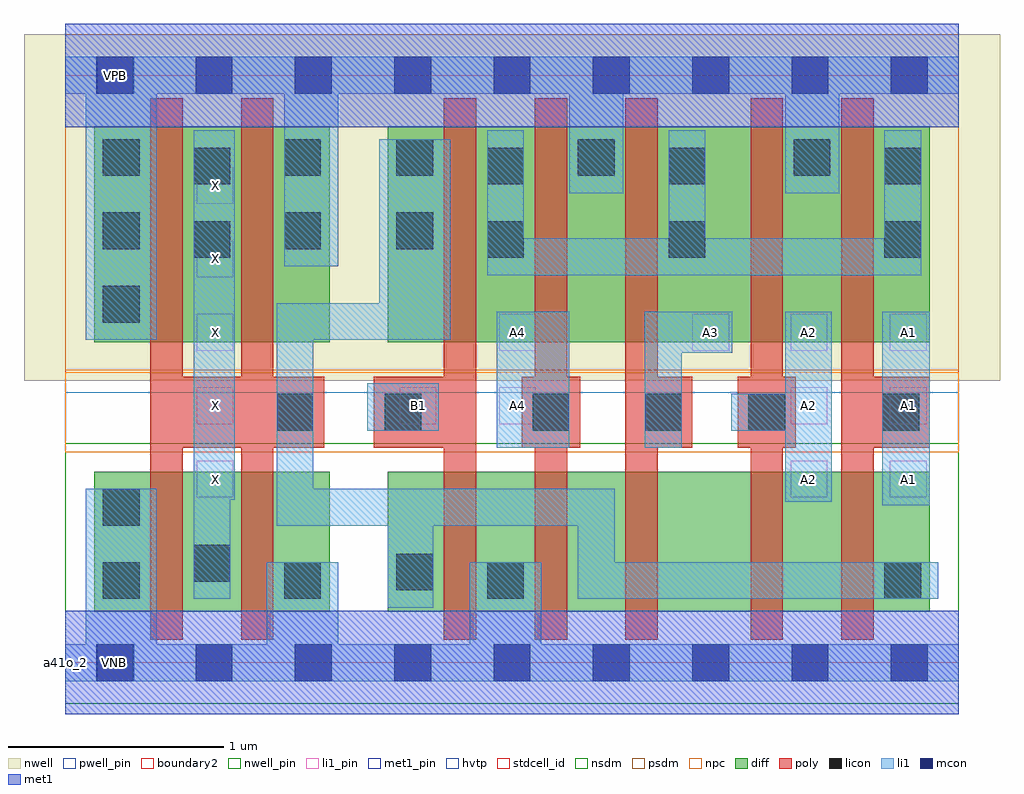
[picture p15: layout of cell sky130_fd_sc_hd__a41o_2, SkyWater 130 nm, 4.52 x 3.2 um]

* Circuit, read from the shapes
.subckt sky130_fd_sc_hd__a41o_2 A1 A2 A3 A4 B1 VGND VNB VPB VPWR X
XM1 X n1 VGND VNB sky130_fd_pr__nfet_01v8 w=0.65 l=0.15 m=2
XM2 VGND B1 n1 VNB sky130_fd_pr__nfet_01v8 w=0.65 l=0.15
XM3 n2 A4 VGND VNB sky130_fd_pr__nfet_01v8 w=0.65 l=0.15
XM4 n3 A3 n2 VNB sky130_fd_pr__nfet_01v8 w=0.65 l=0.15
XM5 n4 A2 n3 VNB sky130_fd_pr__nfet_01v8 w=0.65 l=0.15
XM6 n1 A1 n4 VNB sky130_fd_pr__nfet_01v8 w=0.65 l=0.15
XM7 X n1 VPWR VPB sky130_fd_pr__pfet_01v8_hvt w=1 l=0.15 m=2
XM8 n5 B1 n1 VPB sky130_fd_pr__pfet_01v8_hvt w=1 l=0.15
XM9 VPWR A4 n5 VPB sky130_fd_pr__pfet_01v8_hvt w=1 l=0.15
XM10 n5 A3 VPWR VPB sky130_fd_pr__pfet_01v8_hvt w=1 l=0.15
XM11 VPWR A2 n5 VPB sky130_fd_pr__pfet_01v8_hvt w=1 l=0.15
XM12 n5 A1 VPWR VPB sky130_fd_pr__pfet_01v8_hvt w=1 l=0.15
.ends

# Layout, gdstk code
import gdstk
lib = gdstk.Library(unit=1e-6, precision=1e-09)
def R(c, l, rs):  # rectangles x0, y0, x1, y1
    for r in rs: c.add(gdstk.rectangle(r[:2], r[2:], *l))
def A(c, l, x, y, w, h, nx, ny, dx, dy):  # array of equal rectangles
    R(c, l, [(x+i*dx, y+j*dy, x+i*dx+w, y+j*dy+h) for i in range(nx) for j in range(ny)])
def P(c, l, *ps):  # polygons
    for p in ps: c.add(gdstk.Polygon(p, *l))
nwell_pin = (64, 16)
nwell = (64, 20)
diff = (65, 20)
poly = (66, 20)
licon = (66, 44)
li1_pin = (67, 16)
li1 = (67, 20)
mcon = (67, 44)
met1_pin = (68, 16)
met1 = (68, 20)
hvtp = (78, 44)
stdcell_id = (81, 4)
nsdm = (93, 44)
psdm = (94, 20)
npc = (95, 20)
pwell_pin = (122, 16)
boundary2 = (236, 0)

sky130_fd_sc_hd__a41o_2 = lib.new_cell('sky130_fd_sc_hd__a41o_2')
R(sky130_fd_sc_hd__a41o_2, nwell_pin, [(0.15,2.635,0.32,2.805)])
R(sky130_fd_sc_hd__a41o_2, nwell, [(-0.19,1.305,4.33,2.91)])
R(sky130_fd_sc_hd__a41o_2, diff, [(0.135,0.235,1.225,0.885), (1.495,0.235,4.005,0.885), (0.135,1.485,1.225,2.485), (1.495,1.485,4.005,2.485)])
R(sky130_fd_sc_hd__a41o_2, poly, [(2.595,0.105,2.745,0.995), (2.595,0.995,2.905,1.325), (2.595,1.325,2.745,2.615)])
P(sky130_fd_sc_hd__a41o_2, poly, [(3.385,1.325),(3.325,1.325),(3.325,2.615),(3.175,2.615),(3.175,1.325),(3.115,1.325),(3.115,0.995),(3.175,0.995),(3.175,0.105),(3.325,0.105),(3.325,0.995),(3.385,0.995)],
  [(2.385,1.325),(2.325,1.325),(2.325,2.615),(2.175,2.615),(2.175,1.325),(2.115,1.325),(2.115,0.995),(2.175,0.995),(2.175,0.105),(2.325,0.105),(2.325,0.995),(2.385,0.995)],
  [(1.905,2.615),(1.755,2.615),(1.755,1.325),(1.43,1.325),(1.43,0.995),(1.755,0.995),(1.755,0.105),(1.905,0.105)],
  [(1.2,1.325),(0.965,1.325),(0.965,2.615),(0.815,2.615),(0.815,1.325),(0.545,1.325),(0.545,2.615),(0.395,2.615),(0.395,0.105),(0.545,0.105),(0.545,0.995),(0.815,0.995),(0.815,0.105),(0.965,0.105),(0.965,0.995),(1.2,0.995)],
  [(4.005,1.325),(3.745,1.325),(3.745,2.615),(3.595,2.615),(3.595,0.105),(3.745,0.105),(3.745,0.995),(4.005,0.995)])
A(sky130_fd_sc_hd__a41o_2, licon, 0.175, 1.575, 0.17, 0.17, 1, 3, 0, 0.34)
R(sky130_fd_sc_hd__a41o_2, licon, [(0.175,0.295,0.345,0.465), (1.015,0.295,1.185,0.465), (1.955,0.295,2.125,0.465), (3.795,0.295,3.965,0.465), (1.535,0.335,1.705,0.505), (0.595,0.375,0.765,0.545), (0.175,0.635,0.345,0.805), (0.98,1.075,1.15,1.245), (1.48,1.075,1.65,1.245), (2.165,1.075,2.335,1.245), (2.685,1.075,2.855,1.245), (3.165,1.075,3.335,1.245), (3.785,1.075,3.955,1.245), (0.595,1.875,0.765,2.045), (1.955,1.875,2.125,2.045), (2.795,1.875,2.965,2.045), (3.795,1.875,3.965,2.045), (1.015,1.915,1.185,2.085), (1.535,1.915,1.705,2.085), (0.595,2.215,0.765,2.385), (1.955,2.215,2.125,2.385), (2.795,2.215,2.965,2.385), (3.795,2.215,3.965,2.385), (1.015,2.255,1.185,2.425), (1.535,2.255,1.705,2.425), (2.375,2.255,2.545,2.425), (3.375,2.255,3.545,2.425)])
A(sky130_fd_sc_hd__a41o_2, li1_pin, 0.61, 0.765, 0.17, 0.17, 1, 5, 0, 0.34)
A(sky130_fd_sc_hd__a41o_2, li1_pin, 3.36, 0.765, 0.17, 0.17, 1, 3, 0, 0.34)
A(sky130_fd_sc_hd__a41o_2, li1_pin, 3.82, 0.765, 0.17, 0.17, 1, 3, 0, 0.34)
R(sky130_fd_sc_hd__a41o_2, li1_pin, [(1.55,1.105,1.72,1.275), (2.01,1.105,2.18,1.275), (2.01,1.445,2.18,1.615), (2.905,1.445,3.075,1.615)])
R(sky130_fd_sc_hd__a41o_2, li1, [(3.785,0.73,4.005,1.625), (2,0.995,2.335,1.625), (1.4,1.075,1.73,1.295)])
P(sky130_fd_sc_hd__a41o_2, li1, [(4.045,0.465),(2.545,0.465),(2.545,0.805),(1.15,0.805),(1.15,1.495),(1.785,1.495),(1.785,2.425),(1.455,2.425),(1.455,1.665),(0.98,1.665),(0.98,0.635),(1.495,0.635),(1.495,0.255),(1.705,0.255),(1.705,0.635),(2.375,0.635),(2.375,0.295),(4.045,0.295)],
  [(3.965,2.465),(3.795,2.465),(3.795,1.965),(2.965,1.965),(2.965,2.465),(2.795,2.465),(2.795,1.965),(2.125,1.965),(2.125,2.465),(1.955,2.465),(1.955,1.795),(3.965,1.795)],
  [(3.55,1.625),(3.335,1.625),(3.335,1.245),(3.085,1.245),(3.085,1.075),(3.335,1.075),(3.335,0.745),(3.55,0.745)],
  [(3.09,1.625),(2.685,1.625),(2.685,0.995),(2.855,0.995),(2.855,1.435),(3.09,1.435)],
  [(0.785,2.465),(0.595,2.465),(0.595,0.295),(0.765,0.295),(0.765,0.755),(0.785,0.755)],
  [(4.14,2.805),(0,2.805),(0,2.635),(0.095,2.635),(0.095,1.495),(0.425,1.495),(0.425,2.635),(1.015,2.635),(1.015,1.835),(1.265,1.835),(1.265,2.635),(2.335,2.635),(2.335,2.175),(2.585,2.175),(2.585,2.635),(3.335,2.635),(3.335,2.175),(3.585,2.175),(3.585,2.635),(4.14,2.635)],
  [(4.14,0.085),(2.205,0.085),(2.205,0.465),(1.875,0.465),(1.875,0.085),(1.265,0.085),(1.265,0.465),(0.935,0.465),(0.935,0.085),(0.425,0.085),(0.425,0.805),(0.095,0.805),(0.095,0.085),(0,0.085),(0,-0.085),(4.14,-0.085)])
A(sky130_fd_sc_hd__a41o_2, mcon, 0.145, -0.085, 0.17, 0.17, 9, 2, 0.46, 2.72)
R(sky130_fd_sc_hd__a41o_2, met1_pin, [(0.15,-0.085,0.32,0.085), (0.15,2.635,0.32,2.805)])
R(sky130_fd_sc_hd__a41o_2, hvtp, [(0,1.25,4.14,2.72)])
R(sky130_fd_sc_hd__a41o_2, stdcell_id, [(0,0,4.14,2.72)])
R(sky130_fd_sc_hd__a41o_2, nsdm, [(0,-0.19,4.14,1.015)])
R(sky130_fd_sc_hd__a41o_2, psdm, [(0,1.355,4.14,2.91)])
R(sky130_fd_sc_hd__a41o_2, npc, [(0,0.975,4.14,1.345)])
R(sky130_fd_sc_hd__a41o_2, pwell_pin, [(0.15,-0.085,0.32,0.085)])
R(sky130_fd_sc_hd__a41o_2, boundary2, [(0,0,4.14,2.72)])
sky130_fd_sc_hd__a41o_2.add(gdstk.FlexPath([(0,2.72),(4.14,2.72)], 0.48, ends="flush", simple_path=True, layer=68, datatype=20))  # met1
sky130_fd_sc_hd__a41o_2.add(gdstk.FlexPath([(0,0),(4.14,0)], 0.48, ends="flush", simple_path=True, layer=68, datatype=20))  # met1
sky130_fd_sc_hd__a41o_2.add(gdstk.Label('B1', (1.635,1.19), layer=67, texttype=5))
sky130_fd_sc_hd__a41o_2.add(gdstk.Label('A1', (3.905,1.19), layer=67, texttype=5))
sky130_fd_sc_hd__a41o_2.add(gdstk.Label('A1', (3.905,1.53), layer=67, texttype=5))
sky130_fd_sc_hd__a41o_2.add(gdstk.Label('X', (0.695,0.85), layer=67, texttype=5))
sky130_fd_sc_hd__a41o_2.add(gdstk.Label('A2', (3.445,0.85), layer=67, texttype=5))
sky130_fd_sc_hd__a41o_2.add(gdstk.Label('A1', (3.905,0.85), layer=67, texttype=5))
sky130_fd_sc_hd__a41o_2.add(gdstk.Label('A4', (2.095,1.53), layer=67, texttype=5))
sky130_fd_sc_hd__a41o_2.add(gdstk.Label('A3', (2.99,1.53), layer=67, texttype=5))
sky130_fd_sc_hd__a41o_2.add(gdstk.Label('X', (0.695,1.53), layer=67, texttype=5))
sky130_fd_sc_hd__a41o_2.add(gdstk.Label('X', (0.695,1.87), layer=67, texttype=5))
sky130_fd_sc_hd__a41o_2.add(gdstk.Label('X', (0.695,2.21), layer=67, texttype=5))
sky130_fd_sc_hd__a41o_2.add(gdstk.Label('X', (0.695,1.19), layer=67, texttype=5))
sky130_fd_sc_hd__a41o_2.add(gdstk.Label('A4', (2.095,1.19), layer=67, texttype=5))
sky130_fd_sc_hd__a41o_2.add(gdstk.Label('A2', (3.445,1.53), layer=67, texttype=5))
sky130_fd_sc_hd__a41o_2.add(gdstk.Label('A2', (3.445,1.19), layer=67, texttype=5))
sky130_fd_sc_hd__a41o_2.add(gdstk.Label('VNB', (0.23,0), layer=64, texttype=59))
sky130_fd_sc_hd__a41o_2.add(gdstk.Label('VPB', (0.235,2.72), layer=64, texttype=5))
sky130_fd_sc_hd__a41o_2.add(gdstk.Label('VGND', (0.23,0), layer=68, texttype=5))
sky130_fd_sc_hd__a41o_2.add(gdstk.Label('VPWR', (0.23,2.72), layer=68, texttype=5))
sky130_fd_sc_hd__a41o_2.add(gdstk.Label('a41o_2', (0,0), layer=83, texttype=44))

lib.write_gds('sky130_fd_sc_hd__a41o_2.gds')
